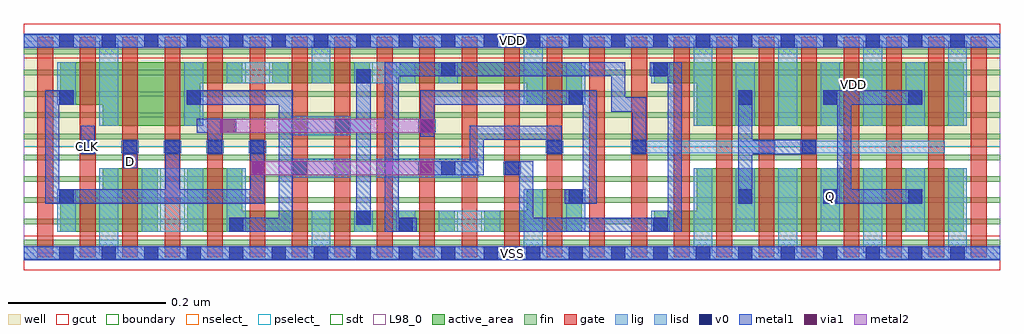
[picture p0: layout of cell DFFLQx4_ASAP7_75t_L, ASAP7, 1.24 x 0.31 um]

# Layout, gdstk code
import gdstk
lib = gdstk.Library(unit=1e-6, precision=2.5e-10)
def R(c, l, rs):  # rectangles x0, y0, x1, y1
    for r in rs: c.add(gdstk.rectangle(r[:2], r[2:], *l))
def A(c, l, x, y, w, h, nx, ny, dx, dy):  # array of equal rectangles
    R(c, l, [(x+i*dx, y+j*dy, x+i*dx+w, y+j*dy+h) for i in range(nx) for j in range(ny)])
def P(c, l, *ps):  # polygons
    for p in ps: c.add(gdstk.Polygon(p, *l))
well = (1, 0)
fin = (2, 0)
gate = (7, 0)
gcut = (10, 0)
active_area = (11, 0)
nselect_ = (12, 0)
pselect_ = (13, 0)
lig = (16, 0)
lisd = (17, 0)
v0 = (18, 0)
metal1 = (19, 0)
metal2 = (20, 0)
via1 = (21, 0)
sdt = (88, 0)
L98_0 = (98, 0)
boundary = (100, 0)

dfflqx4_asap7_75t_l = lib.new_cell('DFFLQx4_ASAP7_75t_L')
R(dfflqx4_asap7_75t_l, well, [(0,0.135,1.242,0.27)])
A(dfflqx4_asap7_75t_l, fin, 0, 0.01, 1.242, 0.007, 1, 10, 0, 0.027)
A(dfflqx4_asap7_75t_l, gate, 0.017, -0.005, 0.02, 0.28, 23, 1, 0.054, 0)
R(dfflqx4_asap7_75t_l, gcut, [(0,-0.022,1.242,0.022), (0,0.248,1.242,0.292)])
R(dfflqx4_asap7_75t_l, active_area, [(0.316,0.216,0.44,0.243)])
P(dfflqx4_asap7_75t_l, active_area, [(0.586,0.027),(0.586,0.054),(0.64,0.054),(0.64,0.081),(0.71,0.081),(0.71,0.027)],
  [(0.802,0.027),(0.802,0.054),(0.856,0.054),(0.856,0.108),(1.196,0.108),(1.196,0.027)],
  [(0.208,0.027),(0.208,0.108),(0.278,0.108),(0.278,0.054),(0.548,0.054),(0.548,0.027)],
  [(0.046,0.027),(0.046,0.081),(0.1,0.081),(0.1,0.108),(0.17,0.108),(0.17,0.027)],
  [(0.856,0.162),(0.856,0.216),(0.802,0.216),(0.802,0.243),(1.196,0.243),(1.196,0.162)],
  [(0.64,0.189),(0.64,0.216),(0.478,0.216),(0.478,0.243),(0.71,0.243),(0.71,0.189)],
  [(0.1,0.162),(0.1,0.189),(0.046,0.189),(0.046,0.243),(0.278,0.243),(0.278,0.216),(0.224,0.216),(0.224,0.162)])
R(dfflqx4_asap7_75t_l, nselect_, [(0,0,1.242,0.135)])
R(dfflqx4_asap7_75t_l, pselect_, [(0,0.135,1.242,0.27)])
A(dfflqx4_asap7_75t_l, lig, 0.07, 0.127, 0.022, 0.016, 5, 1, 0.054, 0)
R(dfflqx4_asap7_75t_l, lig, [(0,-0.008,1.242,0.008), (0.394,0.1,0.416,0.116), (0.448,0.1,0.47,0.116), (0.556,0.1,0.578,0.116), (0.61,0.1,0.632,0.116), (0.664,0.127,0.686,0.143), (0.772,0.127,0.956,0.143), (0.988,0.127,1.172,0.143), (0.34,0.154,0.362,0.17), (0.502,0.154,0.524,0.17), (0,0.262,1.242,0.278)])
A(dfflqx4_asap7_75t_l, lisd, 0.852, 0, 0.024, 0.108, 4, 2, 0.108, 0.162)
A(dfflqx4_asap7_75t_l, lisd, 0.906, 0.027, 0.024, 0.081, 3, 2, 0.108, 0.135)
R(dfflqx4_asap7_75t_l, lisd, [(0.096,0,0.12,0.108), (0.366,0,0.39,0.054), (0.636,0,0.66,0.081), (0.042,0.027,0.066,0.081), (0.15,0.027,0.228,0.108), (0.258,0.027,0.282,0.108), (0.42,0.027,0.444,0.054), (0.474,0.027,0.498,0.054), (0.528,0.027,0.606,0.054), (0.69,0.027,0.714,0.081), (0.798,0.027,0.822,0.054), (0.34,0.096,0.416,0.12), (0.448,0.096,0.578,0.12), (0.34,0.15,0.416,0.174), (0.096,0.162,0.12,0.27), (0.204,0.162,0.228,0.243), (0.042,0.189,0.066,0.243), (0.636,0.189,0.66,0.27), (0.69,0.189,0.714,0.243), (0.258,0.216,0.336,0.243), (0.366,0.216,0.39,0.27), (0.42,0.216,0.498,0.243), (0.528,0.216,0.552,0.243), (0.798,0.216,0.822,0.243)])
A(dfflqx4_asap7_75t_l, v0, 0.045, -0.009, 0.018, 0.018, 22, 2, 0.054, 0.27)
A(dfflqx4_asap7_75t_l, v0, 0.909, 0.063, 0.018, 0.018, 3, 2, 0.108, 0.126)
A(dfflqx4_asap7_75t_l, v0, 0.072, 0.126, 0.018, 0.018, 5, 1, 0.054, 0)
R(dfflqx4_asap7_75t_l, v0, [(0.261,0.027,0.279,0.045), (0.477,0.027,0.495,0.045), (0.801,0.027,0.819,0.045), (0.423,0.036,0.441,0.054), (0.045,0.063,0.063,0.081), (0.693,0.063,0.711,0.081), (0.342,0.099,0.36,0.117), (0.531,0.099,0.549,0.117), (0.612,0.099,0.63,0.117), (0.666,0.126,0.684,0.144), (0.774,0.126,0.792,0.144), (0.99,0.126,1.008,0.144), (0.396,0.153,0.414,0.171), (0.504,0.153,0.522,0.171), (0.045,0.189,0.063,0.207), (0.207,0.189,0.225,0.207), (0.693,0.189,0.711,0.207), (0.423,0.216,0.441,0.234), (0.531,0.225,0.549,0.243), (0.801,0.225,0.819,0.243)])
R(dfflqx4_asap7_75t_l, metal1, [(0,-0.009,1.242,0.009), (0.126,0.108,0.144,0.144), (0.072,0.126,0.09,0.162), (0.22,0.153,0.258,0.171), (0,0.261,1.242,0.279)])
P(dfflqx4_asap7_75t_l, metal1, [(0.234,0.126),(0.234,0.171),(0.27,0.171),(0.27,0.153),(0.252,0.153),(0.252,0.126)],
  [(1.017,0.063),(1.017,0.081),(1.035,0.081),(1.035,0.189),(1.017,0.189),(1.017,0.207),(1.143,0.207),(1.143,0.189),(1.053,0.189),(1.053,0.081),(1.143,0.081),(1.143,0.063)],
  [(0.909,0.063),(0.909,0.207),(0.927,0.207),(0.927,0.144),(1.008,0.144),(1.008,0.126),(0.927,0.126),(0.927,0.063)],
  [(0.261,0.027),(0.261,0.045),(0.324,0.045),(0.324,0.189),(0.207,0.189),(0.207,0.207),(0.342,0.207),(0.342,0.117),(0.36,0.117),(0.36,0.099),(0.342,0.099),(0.342,0.027)],
  [(0.027,0.063),(0.027,0.207),(0.063,0.207),(0.063,0.189),(0.045,0.189),(0.045,0.081),(0.18,0.081),(0.18,0.144),(0.198,0.144),(0.198,0.081),(0.288,0.081),(0.288,0.144),(0.306,0.144),(0.306,0.063)],
  [(0.63,0.027),(0.63,0.099),(0.612,0.099),(0.612,0.117),(0.648,0.117),(0.648,0.045),(0.819,0.045),(0.819,0.225),(0.796,0.225),(0.796,0.243),(0.837,0.243),(0.837,0.027)],
  [(0.502,0.099),(0.502,0.117),(0.567,0.117),(0.567,0.162),(0.684,0.162),(0.684,0.126),(0.666,0.126),(0.666,0.144),(0.585,0.144),(0.585,0.099)],
  [(0.688,0.063),(0.688,0.081),(0.711,0.081),(0.711,0.189),(0.522,0.189),(0.522,0.148),(0.504,0.148),(0.504,0.207),(0.729,0.207),(0.729,0.063)],
  [(0.459,0.027),(0.459,0.243),(0.765,0.243),(0.765,0.198),(0.792,0.198),(0.792,0.126),(0.774,0.126),(0.774,0.18),(0.747,0.18),(0.747,0.225),(0.477,0.225),(0.477,0.045),(0.5,0.045),(0.5,0.027)],
  [(0.423,0.036),(0.423,0.153),(0.396,0.153),(0.396,0.171),(0.423,0.171),(0.423,0.234),(0.441,0.234),(0.441,0.036)])
R(dfflqx4_asap7_75t_l, metal2, [(0.288,0.099,0.522,0.117), (0.25,0.153,0.522,0.171)])
R(dfflqx4_asap7_75t_l, via1, [(0.288,0.099,0.306,0.117), (0.504,0.099,0.522,0.117), (0.25,0.153,0.268,0.171), (0.504,0.153,0.522,0.171)])
A(dfflqx4_asap7_75t_l, sdt, 0.096, 0.027, 0.024, 0.081, 4, 1, 0.054, 0)
A(dfflqx4_asap7_75t_l, sdt, 0.366, 0.027, 0.024, 0.027, 5, 1, 0.054, 0)
A(dfflqx4_asap7_75t_l, sdt, 0.852, 0.027, 0.024, 0.081, 7, 2, 0.054, 0.135)
A(dfflqx4_asap7_75t_l, sdt, 0.258, 0.216, 0.024, 0.027, 6, 1, 0.054, 0)
R(dfflqx4_asap7_75t_l, sdt, [(0.042,0.027,0.066,0.081), (0.636,0.027,0.66,0.081), (0.69,0.027,0.714,0.081), (0.798,0.027,0.822,0.054), (0.096,0.162,0.12,0.243), (0.204,0.162,0.228,0.243), (0.042,0.189,0.066,0.243), (0.636,0.189,0.66,0.243), (0.69,0.189,0.714,0.243), (0.798,0.216,0.822,0.243)])
R(dfflqx4_asap7_75t_l, L98_0, [(0,0,1.242,0.27)])
R(dfflqx4_asap7_75t_l, boundary, [(0,0,1.242,0.27)])
dfflqx4_asap7_75t_l.add(gdstk.Label('Q', (1.026,0.072), layer=19, texttype=251))
dfflqx4_asap7_75t_l.add(gdstk.Label('CLK', (0.081,0.135), layer=19, texttype=251))
dfflqx4_asap7_75t_l.add(gdstk.Label('D', (0.135,0.117), layer=19, texttype=251))
dfflqx4_asap7_75t_l.add(gdstk.Label('VSS', (0.621,0), layer=19, texttype=251))
dfflqx4_asap7_75t_l.add(gdstk.Label('VDD', (0.621,0.27), layer=19, texttype=251))
dfflqx4_asap7_75t_l.add(gdstk.Label('VDD', (1.056,0.214), layer=1, texttype=251))
dfflqx4_asap7_75t_l.add(gdstk.Label('VSS', (1.428,0.214), layer=3, texttype=251))

lib.write_gds('DFFLQx4_ASAP7_75t_L.gds')
